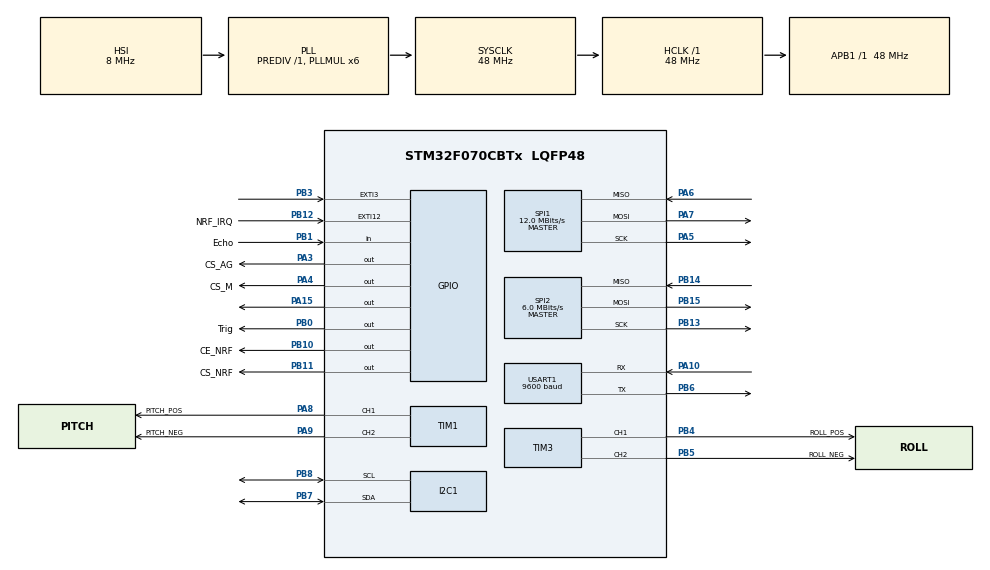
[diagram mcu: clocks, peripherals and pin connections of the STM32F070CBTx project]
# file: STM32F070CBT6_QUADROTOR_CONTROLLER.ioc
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Mcu.Family=STM32F0
Mcu.Name=STM32F070CBTx
Mcu.Package=LQFP48
NVIC.EXTI4_15_IRQn=true\:0\:0\:false\:false\:true
PA10.Mode=Asynchronous
PA10.Signal=USART1_RX
PA13.Mode=Serial_Wire
PA13.Signal=SYS_SWDIO
PA14.Mode=Serial_Wire
PA14.Signal=SYS_SWCLK
PA15.GPIO_Speed=GPIO_SPEED_FREQ_HIGH
PA15.Signal=GPIO_Output
PA3.GPIO_Label=CS_AG
PA3.GPIO_Speed=GPIO_SPEED_FREQ_HIGH
PA3.Signal=GPIO_Output
PA4.GPIO_Label=CS_M
PA4.GPIO_Speed=GPIO_SPEED_FREQ_HIGH
PA4.Signal=GPIO_Output
PA5.Mode=Full_Duplex_Master
PA5.Signal=SPI1_SCK
PA6.Mode=Full_Duplex_Master
PA6.Signal=SPI1_MISO
PA7.Mode=Full_Duplex_Master
PA7.Signal=SPI1_MOSI
PA8.GPIO_Label=PITCH_POS
PA8.GPIO_Speed=GPIO_SPEED_FREQ_HIGH
PA8.Signal=S_TIM1_CH1
PA9.GPIO_Label=PITCH_NEG
PA9.GPIO_Speed=GPIO_SPEED_FREQ_HIGH
PA9.Signal=S_TIM1_CH2
PB0.GPIO_Label=Trig
PB0.GPIO_PuPd=GPIO_PULLDOWN
PB0.GPIO_Speed=GPIO_SPEED_FREQ_HIGH
PB0.Signal=GPIO_Output
PB1.GPIO_Label=Echo
PB1.GPIO_PuPd=GPIO_PULLDOWN
PB1.Signal=GPIO_Input
PB10.GPIO_Label=CE_NRF
PB10.GPIO_Speed=GPIO_SPEED_FREQ_HIGH
PB10.Signal=GPIO_Output
PB11.GPIO_Label=CS_NRF
PB11.GPIO_Speed=GPIO_SPEED_FREQ_HIGH
PB11.Signal=GPIO_Output
PB12.GPIO_Label=NRF_IRQ
PB12.GPIO_ModeDefaultEXTI=GPIO_MODE_IT_FALLING
PB12.Signal=GPXTI12
PB13.Mode=Full_Duplex_Master
PB13.Signal=SPI2_SCK
PB14.Mode=Full_Duplex_Master
PB14.Signal=SPI2_MISO
PB15.Mode=Full_Duplex_Master
PB15.Signal=SPI2_MOSI
PB3.Signal=GPXTI3
PB4.GPIO_Label=ROLL_POS
PB4.GPIO_Speed=GPIO_SPEED_FREQ_HIGH
PB4.Signal=S_TIM3_CH1
PB5.GPIO_Label=ROLL_NEG
PB5.GPIO_Speed=GPIO_SPEED_FREQ_HIGH
PB5.Signal=S_TIM3_CH2
PB6.Mode=Asynchronous
PB6.Signal=USART1_TX
PB7.Mode=I2C
PB7.Signal=I2C1_SDA
PB8.Mode=I2C
PB8.Signal=I2C1_SCL
ProjectManager.HeapSize=0x200
ProjectManager.StackSize=0x400
ProjectManager.TargetToolchain=EWARM
RCC.AHBFreq_Value=48000000
RCC.APB1Freq_Value=48000000
RCC.APB1TimFreq_Value=48000000
RCC.HCLKFreq_Value=48000000
RCC.PLLMUL=RCC_PLL_MUL6
RCC.SYSCLKFreq_VALUE=48000000
RCC.SYSCLKSource=RCC_SYSCLKSOURCE_PLLCLK
SH.S_TIM1_CH1.0=TIM1_CH1,PWM Generation1 CH1
SH.S_TIM1_CH2.0=TIM1_CH2,PWM Generation2 CH2
SH.S_TIM3_CH1.0=TIM3_CH1,PWM Generation1 CH1
SH.S_TIM3_CH2.0=TIM3_CH2,PWM Generation2 CH2
SPI1.BaudRatePrescaler=SPI_BAUDRATEPRESCALER_4
SPI1.CalculateBaudRate=12.0 MBits/s
SPI1.DataSize=SPI_DATASIZE_8BIT
SPI1.Mode=SPI_MODE_MASTER
SPI2.BaudRatePrescaler=SPI_BAUDRATEPRESCALER_8
SPI2.CalculateBaudRate=6.0 MBits/s
SPI2.DataSize=SPI_DATASIZE_8BIT
SPI2.Mode=SPI_MODE_MASTER
TIM1.Channel-PWM\ Generation2\ CH2=TIM_CHANNEL_2
TIM3.Channel-PWM\ Generation2\ CH2=TIM_CHANNEL_2
USART1.BaudRate=9600
VP_TIM1_VS_ClockSourceINT.Mode=Internal
board=STM32F070CBT6_QUADROTOR_CONTROLLER

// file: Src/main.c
/**
  ******************************************************************************
  * File Name          : main.c
  * Description        : Main program body
  ******************************************************************************
  *
  * COPYRIGHT(c) 2016 STMicroelectronics
  *
  * Redistribution and use in source and binary forms, with or without modification,
  * are permitted provided that the following conditions are met:
  *   1. Redistributions of source code must retain the above copyright notice,
  *      this list of conditions and the following disclaimer.
  *   2. Redistributions in binary form must reproduce the above copyright notice,
  *      this list of conditions and the following disclaimer in the documentation
  *      and/or other materials provided with the distribution.
  *   3. Neither the name of STMicroelectronics nor the names of its contributors
  *      may be used to endorse or promote products derived from this software
  *      without specific prior written permission.
  *
  * THIS SOFTWARE IS PROVIDED BY THE COPYRIGHT HOLDERS AND CONTRIBUTORS "AS IS"
  * AND ANY EXPRESS OR IMPLIED WARRANTIES, INCLUDING, BUT NOT LIMITED TO, THE
  * IMPLIED WARRANTIES OF MERCHANTABILITY AND FITNESS FOR A PARTICULAR PURPOSE ARE
  * DISCLAIMED. IN NO EVENT SHALL THE COPYRIGHT HOLDER OR CONTRIBUTORS BE LIABLE
  * FOR ANY DIRECT, INDIRECT, INCIDENTAL, SPECIAL, EXEMPLARY, OR CONSEQUENTIAL
  * DAMAGES (INCLUDING, BUT NOT LIMITED TO, PROCUREMENT OF SUBSTITUTE GOODS OR
  * SERVICES; LOSS OF USE, DATA, OR PROFITS; OR BUSINESS INTERRUPTION) HOWEVER
  * CAUSED AND ON ANY THEORY OF LIABILITY, WHETHER IN CONTRACT, STRICT LIABILITY,
  * OR TORT (INCLUDING NEGLIGENCE OR OTHERWISE) ARISING IN ANY WAY OUT OF THE USE
  * OF THIS SOFTWARE, EVEN IF ADVISED OF THE POSSIBILITY OF SUCH DAMAGE.
  *
  ******************************************************************************
  */
#include "stm32f0xx_hal.h"
#include "i2c.h"
#include "spi.h"
#include "tim.h"
#include "usart.h"
#include "gpio.h"

/* USER CODE BEGIN PV */
/* Private variables ---------------------------------------------------------*/

#define tim1_psc = 0x1DC;
#define tim3_psc = 0x1DC;
#define tim1_arr = 0x190;
#define tim3_arr = 0x190;

uint8_t PayloadReadyFlag = 0x00;
uint8_t Payload[32] = {NULL};
uint8_t *PayloadP;
uint16_t ProportionalK=0,IntegralK=0,DerivativeK=0,OffsetGain=0;

/* USER CODE END PV */

void SystemClock_Config(void);
void Error_Handler(void);

/* USER CODE BEGIN PFP */
/* Private function prototypes -----------------------------------------------*/

/* USER CODE END PFP */

/* USER CODE BEGIN 0 */

int dumb=0;
float distance;
int time=0;
int imuDisable = 0;

/* USER CODE END 0 */

int main(void)
{

  /* USER CODE BEGIN 1 */
///.35
///.15
  /* USER CODE END 1 */

  /* MCU Configuration----------------------------------------------------------*/

  /* Reset of all peripherals, Initializes the Flash interface and the Systick. */
  HAL_Init();

  /* Configure the system clock */
  SystemClock_Config();

  /* Initialize all configured peripherals */
  MX_GPIO_Init();
  MX_SPI1_Init();
  MX_TIM1_Init();
  MX_I2C1_Init();
  MX_SPI2_Init();
  MX_TIM3_Init();
  MX_USART1_UART_Init();

  /* USER CODE BEGIN 2 */

    initIMU();//Initialize the Inertial Measurement Unit
    SetupReceiver();//setup RXer for wireless
    //Start Timers and set their outputs
    HAL_TIM_PWM_Start(&htim1, TIM_CHANNEL_1);
    HAL_TIM_PWM_Start(&htim1, TIM_CHANNEL_2);
    TIM1->PSC  = 0x1DC;
    TIM1->ARR  = 0x190;
    HAL_TIM_PWM_Start(&htim3, TIM_CHANNEL_1);
    HAL_TIM_PWM_Start(&htim3, TIM_CHANNEL_2);
    TIM3->PSC  = 0x1DC;
    TIM3->ARR  = 0x190;

    TIM1->CCR1 = 100;
    TIM1->CCR2 = 100;
    TIM3->CCR1 = 100;
    TIM3->CCR2 = 100;
    //Let the Electronic Speed Controllers grab the signal
    HAL_Delay(1000);

  /* USER CODE END 2 */

  /* Infinite loop */
  while (1)
  {

  /* USER CODE BEGIN 3 */
    //Stabilize
    stabilize();
    //Check for new packet
    if(PayloadReadyFlag){
      PayloadP = (uint8_t *)IRQHandler();
      for(uint8_t i = 0; i < 32; i++){
        Payload[i] = PayloadP[i];
      }
      if(Payload[0] == 0x00){
        //kill quad
        setCent(0.0);
        PayloadReadyFlag=0;
      }else{
        //update values
      ProportionalK = (uint16_t)(Payload[1] << 8 + Payload[2]);
      IntegralK = (uint16_t)(Payload[3] << 8 + Payload[4]);
      DerivativeK = (uint16_t)(Payload[5] << 8 + Payload[6]);
      OffsetGain = (uint16_t)(Payload[7] << 8 + Payload[8]);

      setP((float) 5*(ProportionalK/4096));
      setI((float) 5*(IntegralK/4096));
      setD((float) 5*(DerivativeK/4096));
      setCent((float) (200)*(OffsetGain/4096));
      PayloadReadyFlag=0;
      }
    }

  }
  /* USER CODE END 3 */

}

/** System Clock Configuration
*/
void SystemClock_Config(void)
{

  RCC_OscInitTypeDef RCC_OscInitStruct;
  RCC_ClkInitTypeDef RCC_ClkInitStruct;
  RCC_PeriphCLKInitTypeDef PeriphClkInit;

  RCC_OscInitStruct.OscillatorType = RCC_OSCILLATORTYPE_HSI;
  RCC_OscInitStruct.HSIState = RCC_HSI_ON;
  RCC_OscInitStruct.HSICalibrationValue = 16;
  RCC_OscInitStruct.PLL.PLLState = RCC_PLL_ON;
  RCC_OscInitStruct.PLL.PLLSource = RCC_PLLSOURCE_HSI;
  RCC_OscInitStruct.PLL.PLLMUL = RCC_PLL_MUL6;
  RCC_OscInitStruct.PLL.PREDIV = RCC_PREDIV_DIV1;
  if (HAL_RCC_OscConfig(&RCC_OscInitStruct) != HAL_OK)
  {
    Error_Handler();
  }

  RCC_ClkInitStruct.ClockType = RCC_CLOCKTYPE_HCLK|RCC_CLOCKTYPE_SYSCLK
                              |RCC_CLOCKTYPE_PCLK1;
  RCC_ClkInitStruct.SYSCLKSource = RCC_SYSCLKSOURCE_PLLCLK;
  RCC_ClkInitStruct.AHBCLKDivider = RCC_SYSCLK_DIV1;
  RCC_ClkInitStruct.APB1CLKDivider = RCC_HCLK_DIV1;
  if (HAL_RCC_ClockConfig(&RCC_ClkInitStruct, FLASH_LATENCY_1) != HAL_OK)
  {
    Error_Handler();
  }

  PeriphClkInit.PeriphClockSelection = RCC_PERIPHCLK_USART1|RCC_PERIPHCLK_I2C1;
  PeriphClkInit.Usart1ClockSelection = RCC_USART1CLKSOURCE_PCLK1;
  PeriphClkInit.I2c1ClockSelection = RCC_I2C1CLKSOURCE_HSI;
  if (HAL_RCCEx_PeriphCLKConfig(&PeriphClkInit) != HAL_OK)
  {
    Error_Handler();
  }

  HAL_SYSTICK_Config(HAL_RCC_GetHCLKFreq()/1000);

  HAL_SYSTICK_CLKSourceConfig(SYSTICK_CLKSOURCE_HCLK);

  /* SysTick_IRQn interrupt configuration */
  HAL_NVIC_SetPriority(SysTick_IRQn, 0, 0);
}

void Error_Handler(void)
{
  while(1)
  {
  }
}

/************************ (C) COPYRIGHT STMicroelectronics *****END OF FILE****/
